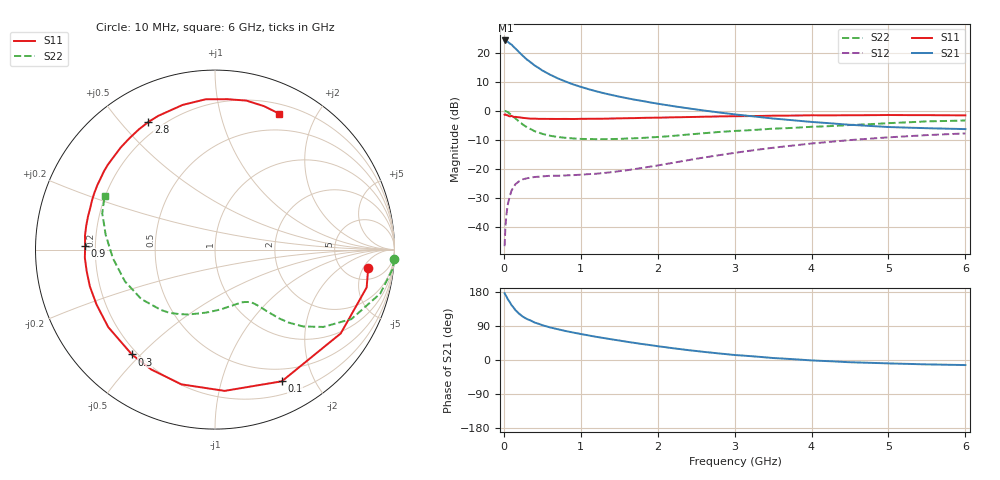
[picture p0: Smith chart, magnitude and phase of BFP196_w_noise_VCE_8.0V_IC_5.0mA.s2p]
! Infineon Technologies  Discrete & RF Semiconductors
! BFP196
! VCE =  8.0 V,  IC =  5.0 mA
! Common Emitter S-Parameters:  Jan 2017
# GHz  S  MA  R  50
!  f  S11  S21  S12  S22
! GHz  MAG  ANG  MAG  ANG  MAG  ANG  MAG  ANG
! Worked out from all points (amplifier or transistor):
!   77 points, 10 MHz to 6 GHz, reference 50 ohm
!   highest |S21| = 24.2 dB at 20 MHz (marker M1)
!   |S21| within 3 dB of that: start of sweep to 159.5 MHz
!   unconditionally stable (mu >= 1): 1.189 GHz to 2.339 GHz
!   at 130 MHz: K = 0.14, MSG = 24.0 dB, |S12| = -26.1 dB
!   at 2.2 GHz: K = 1.03, MAG = 8.7 dB, |S12| = -17.9 dB
!   at 6 GHz: K = 0.94, MSG = 0.7 dB, |S12| = -7.7 dB
!   lowest NFmin = 1.01 dB at 450 MHz
!   S11 on the Smith chart (normalised r, x): 10 MHz: 8, -6; 100 MHz: 0.35, -1.57; 300 MHz: 0.18, -0.47; 900 MHz: 0.16, +0.01; 2.8 GHz: 0.15, +0.60; 6 GHz: 0.30, +1.53
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0.01  0.8597 -7.0  16.14 176.2  0.0047 87.0  1 -3.0
0.02  0.8709 -14.0  16.26 172.4  0.0098 83.8  0.9947 -6.3
0.05  0.842 -33.7  15.5 161.0  0.0238 73.3  0.9527 -14.9
0.1  0.8228 -63.1  13.82 144.7  0.0425 59.3  0.8528 -27.0
0.15  0.789 -86.1  11.85 131.7  0.0547 48.3  0.742 -35.5
0.2  0.7737 -104.0  10.17 121.9  0.0616 41.4  0.6515 -41.1
0.25  0.7566 -118.0  8.768 113.9  0.0666 36.1  0.5784 -44.7
0.3  0.7456 -128.4  7.638 108.2  0.0692 32.9  0.522 -47.1
0.4  0.7351 -144.0  6.047 98.9  0.0728 28.6  0.4473 -50.0
0.5  0.7276 -155.2  4.955 91.9  0.0745 26.5  0.4023 -52.0
0.6  0.7267 -163.6  4.202 86.1  0.0764 26.4  0.3735 -53.9
0.7  0.7251 -170.4  3.629 81.3  0.0765 26.7  0.355 -55.7
0.9  0.7237 178.4  2.856 72.5  0.0783 29.1  0.3353 -60.6
1.1  0.7297 169.6  2.363 64.9  0.0815 32.9  0.3276 -66.3
1.3  0.7326 161.8  2.012 57.9  0.0854 36.8  0.3263 -72.9
1.5  0.7429 154.7  1.755 51.4  0.0917 41.0  0.3293 -80.0
2.1  0.768 135.7  1.266 33.8  0.1213 49.8  0.3624 -102.3
2.8  0.8021 117.6  0.937 17.2  0.1729 50.8  0.4337 -125.6
3.1  0.8106 110.9  0.842 11.8  0.1976 48.7  0.4576 -134.9
4.1  0.8382 91.8  0.631 -2.0  0.2817 38.1  0.5371 -163.7
5.1  0.8466 76.7  0.522 -9.5  0.3564 24.3  0.6224 170.1
6  0.8375 64.8  0.485 -13.4  0.4098 12.0  0.6835 154.1
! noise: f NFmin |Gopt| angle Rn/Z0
0.45  1.01  0.42  127  0.08
0.9  1.47  0.55  170  0.06
1.9  2.9  0.74  -142  0.31
2.4  3.55  0.76  -125  0.95
